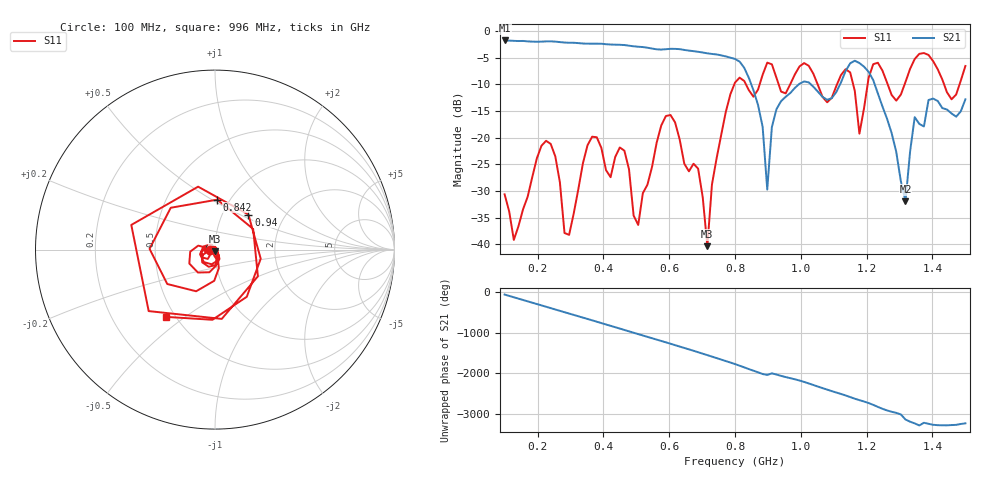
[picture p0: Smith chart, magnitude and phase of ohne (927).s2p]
! NanoVNA-App
! Date: 2025-09-25 14:28:01
! Start: 100MHz Stop: 1,5GHz Points: 101
! S-Parameter data: F S11 S21 S12 S22
# Hz S RI R 50
!  Frequency  S11_Real  S11_Imag  S21_Real  S21_Imag  S12_Real  S12_Imag  S22_Real  S22_Imag
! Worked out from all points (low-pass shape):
!   101 points, 100 MHz to 1.5 GHz, reference 50 ohm
!   highest |S21| = -1.79 dB at 100 MHz (marker M1); lowest = -31.9 dB at 1.318 GHz (marker M2)
!   |S21| within 3 dB of the highest: start of sweep to 772.5 MHz
!   lowest |S11| = -40.3 dB at 716 MHz (marker M3), VSWR 1.02, Z = 49.7 - j0.923 ohm
!   |S11| at or under -10 dB: start of sweep to 798 MHz; 833 MHz to 875.1 MHz (42.06 MHz wide, 4.92 % of centre); 1.051 GHz to 1.11 GHz (59.15 MHz wide, 5.47 % of centre) (the widest 3 of 7)
!   S12 and S22 are empty: the file has one direction only
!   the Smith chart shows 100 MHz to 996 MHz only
!   S11 on the Smith chart (normalised r, x): 100 MHz: 0.94, -0.01; 842 MHz: 0.88, +0.53; 940 MHz: 1.32, +0.56; 996 MHz: 0.44, -0.42
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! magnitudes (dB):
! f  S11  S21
! 100 MHz  -30.6  -1.8
! 128 MHz  -39.2  -1.9
! 226 MHz  -20.6  -2.0
! 296 MHz  -38.2  -2.2
! 338 MHz  -24.8  -2.4
! 464 MHz  -22.5  -2.7
! 506 MHz  -36.4  -3.0
! 576 MHz  -17.7  -3.5
! 688 MHz  -25.8  -3.9
! 716 MHz  -40.3  -4.2
! 800 MHz  -9.7  -5.3
! 842 MHz  -11.1  -8.8
! 898 MHz  -6.0  -29.7
! 940 MHz  -11.4  -13.2
! 996 MHz  -6.7  -9.9
! 1.038 GHz  -8.0  -10.5
! 1.178 GHz  -19.3  -6.0
! 1.22 GHz  -6.2  -9.2
! 1.276 GHz  -12.0  -19.2
! 1.318 GHz  -9.6  -31.9
! 1.346 GHz  -5.3  -16.2
! 1.5 GHz  -6.6  -12.8
